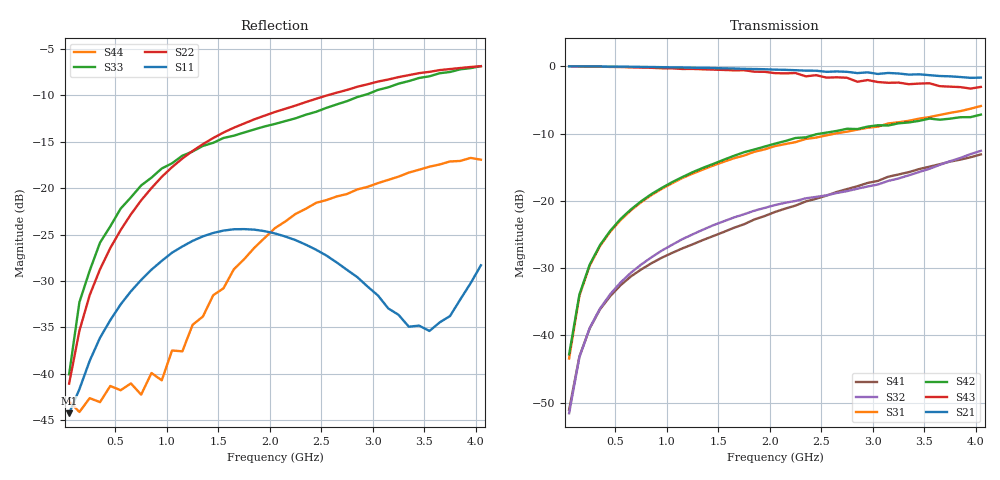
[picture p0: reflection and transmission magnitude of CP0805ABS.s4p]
! Network Analyzer HP8720D.07.14 Serial No. US38111185
! 28 Apr 1999  02:06:29
! Frequency 	S11		S21		S31		S41		S12		S22		S23		S24		S13		S23		S33		S34		S14		S24		S34		S44
# HZ  S  DB R 50
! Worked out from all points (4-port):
!   41 points, 50 MHz to 4.05 GHz, reference 50 ohm
!   strongest paths, dB at 50 MHz, 1.05 GHz, 2.05 GHz, 3.05 GHz, 4.05 GHz:
!     S21: 0.0, -0.1, -0.5, -1.1, -1.7
!     S43: 0.0, -0.3, -1.0, -2.3, -3.1
!     S42: -42.8, -17.2, -11.5, -8.8, -7.2
!     S31: -43.5, -17.4, -11.9, -9.0, -5.9
!     S32: -51.6, -26.5, -20.6, -17.6, -12.6
!     S41: -51.1, -27.7, -21.7, -17.0, -13.1
!   lowest |S11| = -44.3 dB at 50 MHz (marker M1), VSWR 1.01, Z = 50.6 - j0.154 ohm
!   |S11| at or under -10 dB: start of sweep to end of sweep
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5e7  -44.27 -14.4  -0.01 -1.1  -44.29 85.0  -51.26 82.0
     0.00 -0.8  -41.07 46.1  -58.48 94.5  -45.64 87.7
     -43.45 90.1  -51.60 74.9  -40.06 40.6  -0.00 -1.6
     -51.09 73.9  -42.84 91.9  0.03 -1.2  -42.98 -9.8
1.5e8  -41.66 -58.6  0.00 -2.6  -34.08 86.9  -43.48 86.2
       0.00 -2.7  -35.37 63.5  -43.20 87.7  -33.92 86.6
       -34.12 86.1  -43.26 87.7  -32.29 65.8  -0.00 -4.0
       -43.15 86.0  -33.93 85.7  -0.02 -4.0  -44.12 -2.5
2.5e8  -38.60 -83.2  -0.01 -4.5  -29.65 84.8  -39.02 84.8
       -0.01 -4.5  -31.52 69.1  -38.88 86.1  -29.50 84.2
       -29.64 84.4  -38.91 85.8  -28.89 64.1  -0.03 -6.5
       -38.97 84.0  -29.48 84.3  -0.04 -6.7  -42.63 -31.8
7.5e8  -29.89 -152.0  -0.07 -13.1  -20.23 74.7  -30.17 75.9
       -0.08 -13.3  -21.31 65.7  -29.46 80.2  -20.09 73.3
       -20.21 74.6  -29.48 80.1  -19.70 48.0  -0.19 -19.4
       -30.20 75.6  -20.05 73.2  -0.18 -19.5  -42.25 -80.4
2.05e9  -24.88 134.1  -0.52 -36.1  -11.70 48.8  -21.45 68.6
        -0.48 -35.5  -11.79 -0.6  -20.41 61.3  -11.94 47.4
        -11.86 52.0  -20.63 64.3  -13.07 -6.9  -0.98 -52.5
        -21.65 71.4  -11.49 44.5  -1.01 -52.9  -24.30 159.6
3.55e9  -35.39 92.4  -1.28 -64.0  -7.00 20.8  -14.46 44.2
        -1.31 -62.9  -7.46 -75.0  -14.98 47.5  -7.88 19.8
        -7.54 27.9  -15.24 55.4  -7.94 -72.1  -1.94 -89.4
        -14.92 51.8  -7.76 10.7  -2.51 -90.1  -17.68 50.5
4.05e9  -28.31 70.0  -2.05 -72.6  -6.06 6.9  -13.36 27.4
        -1.67 -71.3  -6.85 -96.4  -13.17 33.4  -6.63 11.5
        -5.89 19.8  -12.56 46.5  -6.85 -99.3  -2.77 -107.5
        -13.09 42.1  -7.17 3.9  -3.06 -100.9  -16.93 18.7
